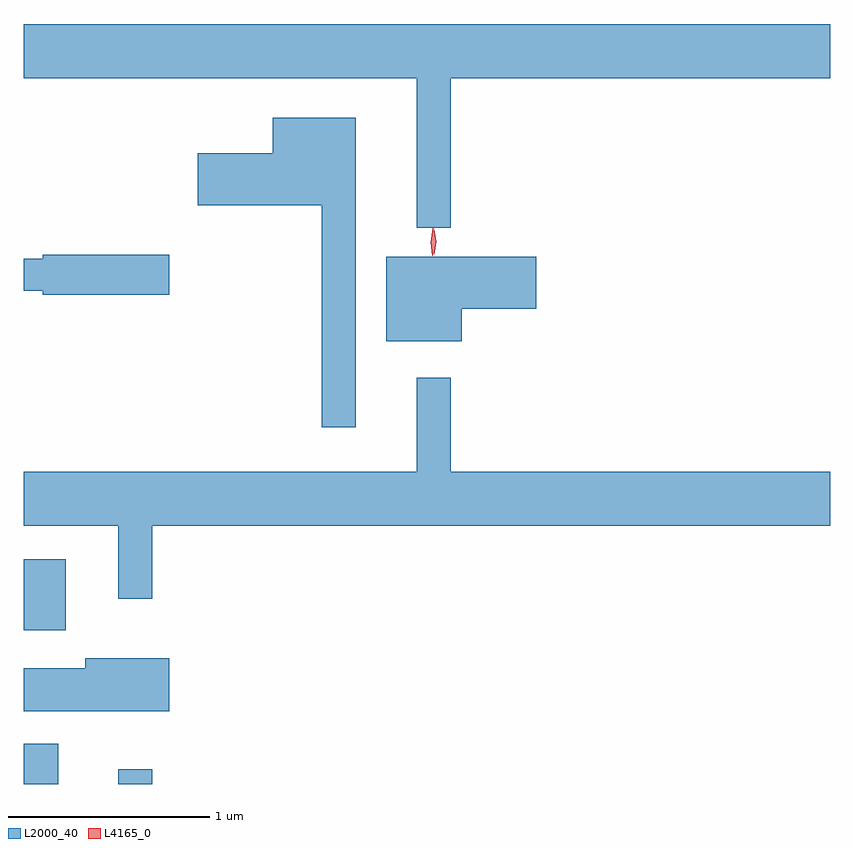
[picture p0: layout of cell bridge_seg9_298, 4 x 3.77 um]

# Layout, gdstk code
import gdstk
lib = gdstk.Library(unit=1e-6, precision=1e-09)
def R(c, l, rs):  # rectangles x0, y0, x1, y1
    for r in rs: c.add(gdstk.rectangle(r[:2], r[2:], *l))
def P(c, l, *ps):  # polygons
    for p in ps: c.add(gdstk.Polygon(p, *l))
L2000_40 = (2000, 40)
L4165_0 = (4165, 0)

bridge_seg9_298 = lib.new_cell('bridge_seg9_298')
R(bridge_seg9_298, L2000_40, [(1000.312,2017.174,1000.484,2017.374), (1000.781,2017.174,1000.949,2017.248), (1000.312,2017.936,1000.519,2018.289)])
P(bridge_seg9_298, L2000_40, [(1002.429,2020.676),(1004.312,2020.676),(1004.312,2020.944),(1000.312,2020.944),(1000.312,2020.676),(1002.261,2020.676),(1002.261,2019.933),(1002.429,2019.933)],
  [(1001.959,2020.479),(1001.546,2020.479),(1001.546,2020.304),(1001.176,2020.304),(1001.176,2020.046),(1001.791,2020.046),(1001.791,2018.943),(1001.959,2018.943)],
  [(1001.034,2019.799),(1000.406,2019.799),(1000.406,2019.779),(1000.312,2019.779),(1000.312,2019.621),(1000.406,2019.621),(1000.406,2019.601),(1001.034,2019.601)],
  [(1002.484,2019.531),(1002.854,2019.531),(1002.854,2019.789),(1002.111,2019.789),(1002.111,2019.371),(1002.484,2019.371)],
  [(1000.949,2018.456),(1004.312,2018.456),(1004.312,2018.724),(1002.429,2018.724),(1002.429,2019.188),(1002.261,2019.188),(1002.261,2018.724),(1000.312,2018.724),(1000.312,2018.456),(1000.781,2018.456),(1000.781,2018.093),(1000.949,2018.093)],
  [(1001.034,2017.799),(1000.616,2017.799),(1000.616,2017.749),(1000.312,2017.749),(1000.312,2017.536),(1001.034,2017.536)])
P(bridge_seg9_298, L4165_0, [(1002.339,2019.794),(1002.339,2019.794),(1002.33,2019.862),(1002.341,2019.93),(1002.341,2019.93),(1002.342,2019.93),(1002.35,2019.862),(1002.34,2019.794)],
  [(1002.348,2019.8),(1002.348,2019.8),(1002.338,2019.863),(1002.348,2019.926),(1002.348,2019.927),(1002.349,2019.926),(1002.358,2019.863),(1002.349,2019.8)])

lib.write_gds('bridge_seg9_298.gds')
